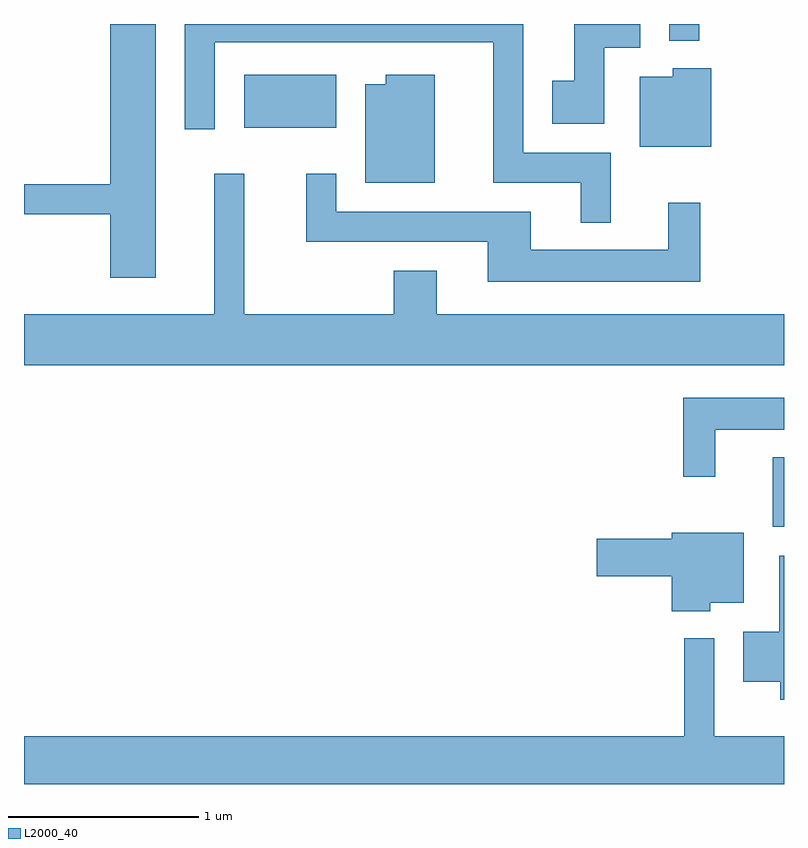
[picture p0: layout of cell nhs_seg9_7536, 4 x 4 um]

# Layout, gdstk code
import gdstk
lib = gdstk.Library(unit=1e-6, precision=1e-09)
def R(c, l, rs):  # rectangles x0, y0, x1, y1
    for r in rs: c.add(gdstk.rectangle(r[:2], r[2:], *l))
def P(c, l, *ps):  # polygons
    for p in ps: c.add(gdstk.Polygon(p, *l))
L2000_40 = (2000, 40)

nhs_seg9_7536 = lib.new_cell('nhs_seg9_7536')
R(nhs_seg9_7536, L2000_40, [(411.551,2059.786,411.611,2060.153), (408.771,2061.886,409.254,2062.164), (411.006,2062.343,411.164,2062.432)])
P(nhs_seg9_7536, L2000_40, [(410.664,2062.306),(410.854,2062.306),(410.854,2062.432),(410.506,2062.432),(410.506,2062.134),(410.391,2062.134),(410.391,2061.906),(410.664,2061.906)],
  [(410.699,2061.754),(410.239,2061.754),(410.239,2062.432),(408.456,2062.432),(408.456,2061.878),(408.614,2061.878),(408.614,2062.336),(410.081,2062.336),(410.081,2061.596),(410.541,2061.596),(410.541,2061.387),(410.699,2061.387)],
  [(408.304,2062.432),(408.066,2062.432),(408.066,2061.589),(407.611,2061.589),(407.611,2061.431),(408.066,2061.431),(408.066,2061.096),(408.304,2061.096)],
  [(411.229,2062.199),(411.026,2062.199),(411.026,2062.154),(410.851,2062.154),(410.851,2061.786),(411.229,2061.786)],
  [(409.774,2062.164),(409.516,2062.164),(409.516,2062.114),(409.406,2062.114),(409.406,2061.596),(409.774,2061.596)],
  [(411.611,2060.904),(409.784,2060.904),(409.784,2061.134),(409.556,2061.134),(409.556,2060.904),(408.769,2060.904),(408.769,2061.643),(408.611,2061.643),(408.611,2060.904),(407.611,2060.904),(407.611,2060.636),(411.611,2060.636)],
  [(411.169,2061.492),(411.001,2061.492),(411.001,2061.244),(410.279,2061.244),(410.279,2061.444),(409.254,2061.444),(409.254,2061.643),(409.096,2061.643),(409.096,2061.286),(410.051,2061.286),(410.051,2061.076),(411.169,2061.076)],
  [(411.249,2060.296),(411.611,2060.296),(411.611,2060.464),(411.081,2060.464),(411.081,2060.048),(411.249,2060.048)],
  [(411.224,2059.386),(411.399,2059.386),(411.399,2059.754),(411.021,2059.754),(411.021,2059.724),(410.626,2059.724),(410.626,2059.526),(411.021,2059.526),(411.021,2059.341),(411.224,2059.341)],
  [(411.611,2059.634),(411.586,2059.634),(411.586,2059.234),(411.396,2059.234),(411.396,2058.971),(411.591,2058.971),(411.591,2058.876),(411.611,2058.876)],
  [(411.611,2058.684),(411.244,2058.684),(411.244,2059.198),(411.086,2059.198),(411.086,2058.684),(407.611,2058.684),(407.611,2058.432),(411.611,2058.432)])

lib.write_gds('nhs_seg9_7536.gds')
